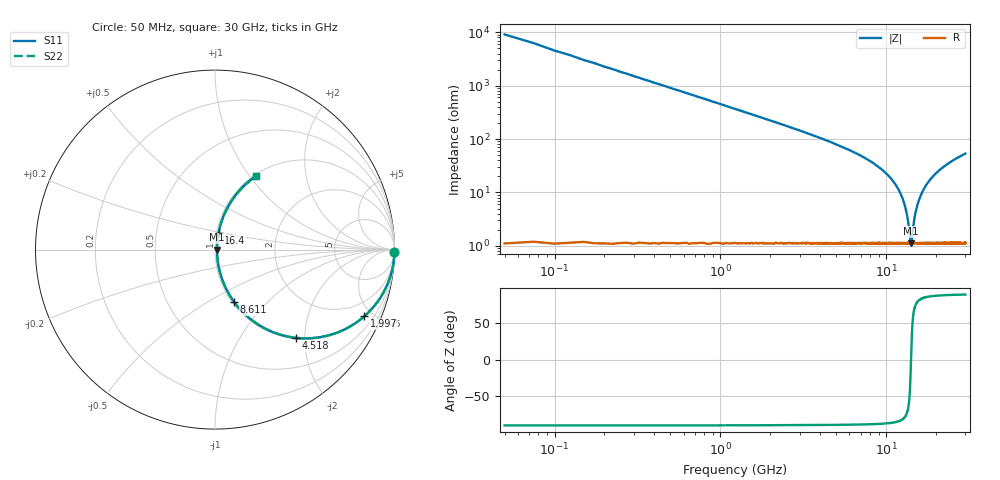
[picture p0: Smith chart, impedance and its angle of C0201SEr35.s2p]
!	AVX Thin Film Operation 	Date: April 2014
!	Description: Accu-P® Series, Thin Film  SMD RF Capacitor
!	Part Number: 02011JR35ZBSTR
# MHZ S MA R 50
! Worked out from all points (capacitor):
!   1201 points, 50 MHz to 30 GHz, reference 50 ohm
!   read as one part in series: C = 350 fF near 199.8 MHz
!   lowest |Z| = 1.11 ohm at 14.1 GHz (marker M1)
!   series resonance near 14.11 GHz, so ESL is about 360 pH
!   S11 on the Smith chart (normalised r, x): 50 MHz: open; 1.997 GHz: 1.02, -4.46; 4.518 GHz: 1.02, -1.81; 8.611 GHz: 1.02, -0.66; 16.4 GHz: 1.02, +0.20; 30 GHz: 1.02, +1.07
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50  1 -0.6  0.011 89.4  0.011 89.4  1 -0.6
299.583  0.998 -3.8  0.066 86.2  0.066 86.2  0.998 -3.8
624.042  0.99 -7.8  0.136 82.1  0.136 82.1  0.99 -7.8
1173.125  0.967 -14.6  0.251 75.3  0.251 75.3  0.967 -14.6
1996.75  0.911 -24.1  0.408 65.6  0.408 65.6  0.911 -24.1
3169.792  0.803 -36.1  0.589 53.4  0.589 53.4  0.803 -36.1
4517.542  0.666 -47.5  0.738 41.8  0.738 41.8  0.666 -47.5
5041.667  0.614 -51.3  0.781 37.9  0.781 37.9  0.614 -51.3
8610.708  0.312 -69.9  0.94 18.1  0.94 18.1  0.312 -69.9
10058.29  0.215 -74.7  0.966 12.4  0.966 12.4  0.215 -74.7
11605.71  0.125 -77.8  0.981 7.1  0.981 7.1  0.125 -77.8
12653.96  0.07 -77.0  0.987 4.0  0.987 4.0  0.07 -77.0
13327.83  0.038 -70.9  0.988 2.1  0.988 2.1  0.038 -70.9
13976.75  0.012 -27.5  0.989 0.3  0.989 0.3  0.012 -27.5
14101.54  0.011 -0.8  0.989 0.0  0.989 0.0  0.011 -0.8
14251.29  0.013 30.4  0.989 -0.4  0.989 -0.4  0.013 30.4
15025  0.042 72.4  0.988 -2.3  0.988 -2.3  0.042 72.4
16397.71  0.097 78.0  0.984 -5.5  0.984 -5.5  0.097 78.0
17995.04  0.155 77.1  0.977 -8.9  0.977 -8.9  0.155 77.1
20016.67  0.222 74.4  0.964 -12.8  0.964 -12.8  0.222 74.4
25033.29  0.36 67.2  0.923 -21.1  0.923 -21.1  0.36 67.2
30000  0.467 61.0  0.874 -27.8  0.874 -27.8  0.467 61.0
